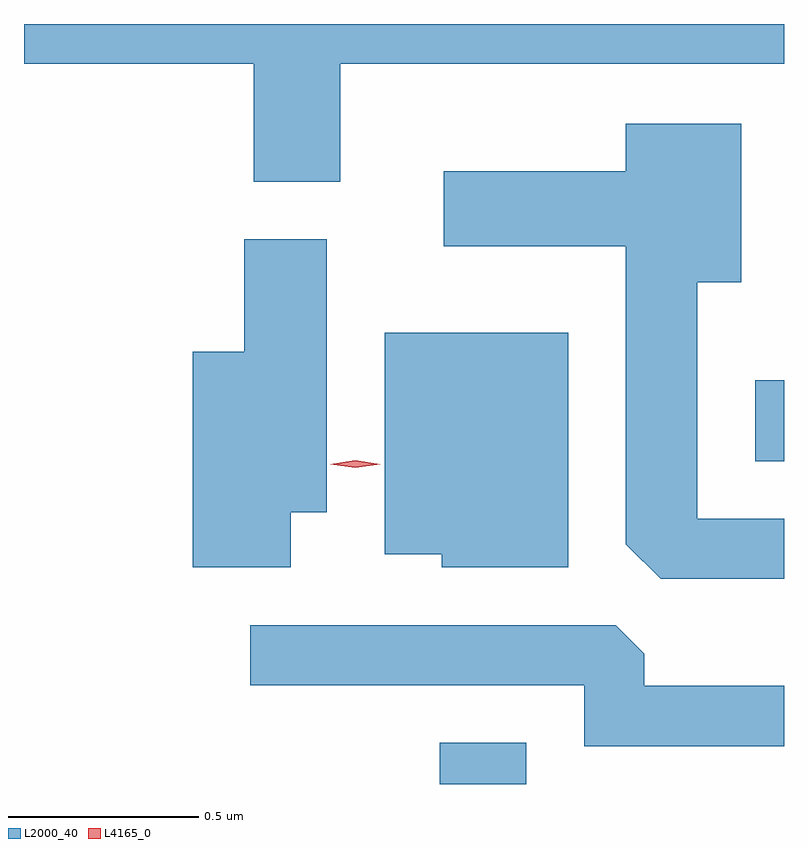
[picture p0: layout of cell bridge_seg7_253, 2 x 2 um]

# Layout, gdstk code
import gdstk
lib = gdstk.Library(unit=1e-6, precision=1e-09)
def R(c, l, rs):  # rectangles x0, y0, x1, y1
    for r in rs: c.add(gdstk.rectangle(r[:2], r[2:], *l))
def P(c, l, *ps):  # polygons
    for p in ps: c.add(gdstk.Polygon(p, *l))
L2000_40 = (2000, 40)
L4165_0 = (4165, 0)

bridge_seg7_253 = lib.new_cell('bridge_seg7_253')
R(bridge_seg7_253, L2000_40, [(1803.851,1699.101,1804.079,1699.209), (1804.681,1699.951,1804.757,1700.164)])
P(bridge_seg7_253, L2000_40, [(1803.589,1700.996),(1804.757,1700.996),(1804.757,1701.101),(1802.757,1701.101),(1802.757,1700.996),(1803.361,1700.996),(1803.361,1700.686),(1803.589,1700.686)],
  [(1804.757,1699.799),(1804.529,1699.799),(1804.529,1700.421),(1804.644,1700.421),(1804.644,1700.839),(1804.341,1700.839),(1804.341,1700.714),(1803.861,1700.714),(1803.861,1700.516),(1804.341,1700.516),(1804.341,1699.732),(1804.432,1699.641),(1804.757,1699.641)],
  [(1803.459,1699.816),(1803.554,1699.816),(1803.554,1700.534),(1803.336,1700.534),(1803.336,1700.239),(1803.201,1700.239),(1803.201,1699.671),(1803.459,1699.671)],
  [(1804.189,1700.289),(1803.706,1700.289),(1803.706,1699.706),(1803.856,1699.706),(1803.856,1699.671),(1804.189,1699.671)],
  [(1804.757,1699.359),(1804.389,1699.359),(1804.389,1699.444),(1804.314,1699.519),(1803.353,1699.519),(1803.353,1699.361),(1804.231,1699.361),(1804.231,1699.201),(1804.757,1699.201)])
P(bridge_seg7_253, L4165_0, [(1803.629,1699.933),(1803.563,1699.942),(1803.563,1699.943),(1803.563,1699.943),(1803.629,1699.953),(1803.695,1699.943),(1803.695,1699.943),(1803.695,1699.942)])

lib.write_gds('bridge_seg7_253.gds')
